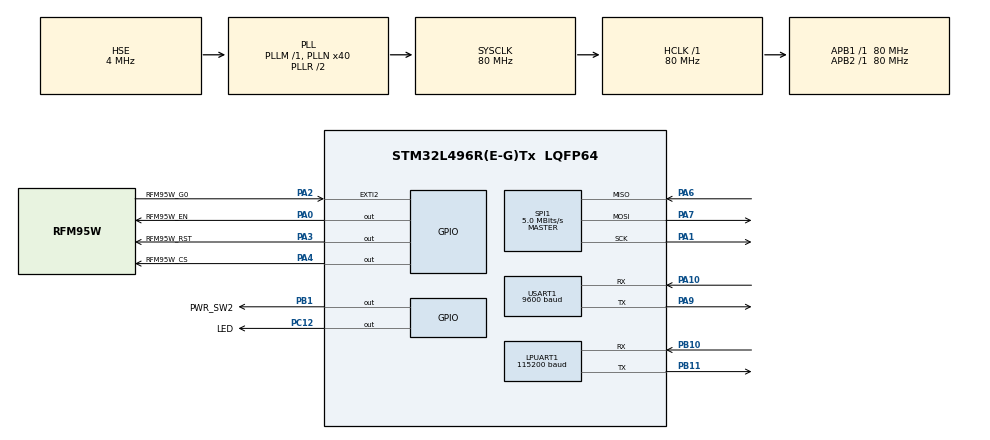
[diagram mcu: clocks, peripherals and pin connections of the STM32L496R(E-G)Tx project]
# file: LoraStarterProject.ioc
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LPUART1.BaudRate=115200
LPUART1.WordLength=UART_WORDLENGTH_8B
Mcu.Family=STM32L4
Mcu.Name=STM32L496R(E-G)Tx
Mcu.Package=LQFP64
NVIC.EXTI2_IRQn=true\:0\:0\:false\:false\:true\:true\:true\:true
NVIC.LPUART1_IRQn=true\:0\:0\:false\:false\:true\:true\:true\:true
NVIC.PriorityGroup=NVIC_PRIORITYGROUP_4
NVIC.TIM1_BRK_TIM15_IRQn=true\:0\:0\:false\:false\:true\:true\:true\:true
NVIC.TIM1_UP_TIM16_IRQn=true\:0\:0\:false\:false\:true\:true\:true\:true
NVIC.USART1_IRQn=true\:0\:0\:false\:false\:true\:true\:true\:true
PA0.GPIO_Label=RFM95W_EN
PA0.GPIO_ModeDefaultOutputPP=GPIO_MODE_OUTPUT_PP
PA0.GPIO_PuPd=GPIO_NOPULL
PA0.PinState=GPIO_PIN_SET
PA0.Signal=GPIO_Output
PA1.Mode=Full_Duplex_Master
PA1.Signal=SPI1_SCK
PA10.Mode=Asynchronous
PA10.Signal=USART1_RX
PA2.GPIO_Label=RFM95W_G0
PA2.Signal=GPXTI2
PA3.GPIO_Label=RFM95W_RST
PA3.Signal=GPIO_Output
PA4.GPIO_Label=RFM95W_CS
PA4.PinState=GPIO_PIN_SET
PA4.Signal=GPIO_Output
PA6.Mode=Full_Duplex_Master
PA6.Signal=SPI1_MISO
PA7.Mode=Full_Duplex_Master
PA7.Signal=SPI1_MOSI
PA9.Mode=Asynchronous
PA9.Signal=USART1_TX
PB1.GPIO_Label=PWR_SW2
PB1.PinState=GPIO_PIN_SET
PB1.Signal=GPIO_Output
PB10.Mode=Asynchronous
PB10.Signal=LPUART1_RX
PB11.Mode=Asynchronous
PB11.Signal=LPUART1_TX
PC12.GPIO_Label=LED
PC12.Signal=GPIO_Output
PC14-OSC32_IN\ (PC14).Mode=LSE-External-Oscillator
PC14-OSC32_IN\ (PC14).Signal=RCC_OSC32_IN
PC15-OSC32_OUT\ (PC15).Mode=LSE-External-Oscillator
PC15-OSC32_OUT\ (PC15).Signal=RCC_OSC32_OUT
PH0-OSC_IN\ (PH0).Mode=HSE-External-Oscillator
PH0-OSC_IN\ (PH0).Signal=RCC_OSC_IN
PH1-OSC_OUT\ (PH1).Mode=HSE-External-Oscillator
PH1-OSC_OUT\ (PH1).Signal=RCC_OSC_OUT
ProjectManager.HeapSize=0x200
ProjectManager.StackSize=0x400
ProjectManager.TargetToolchain=STM32CubeIDE
RCC.ADCFreq_Value=16000000
RCC.AHBFreq_Value=80000000
RCC.APB1Freq_Value=80000000
RCC.APB1TimFreq_Value=80000000
RCC.APB2Freq_Value=80000000
RCC.APB2TimFreq_Value=80000000
RCC.CortexFreq_Value=80000000
RCC.HCLKFreq_Value=80000000
RCC.HSE_VALUE=4000000
RCC.HSI48_VALUE=48000000
RCC.HSI_VALUE=16000000
RCC.MSI_VALUE=4000000
RCC.PLLN=40
RCC.PLLSourceVirtual=RCC_PLLSOURCE_HSE
RCC.RTCClockSelection=RCC_RTCCLKSOURCE_LSE
RCC.SYSCLKFreq_VALUE=80000000
RCC.SYSCLKSource=RCC_SYSCLKSOURCE_PLLCLK
RCC.USBFreq_Value=16000000
RCC.VCOOutputFreq_Value=160000000
SPI1.BaudRatePrescaler=SPI_BAUDRATEPRESCALER_16
SPI1.CalculateBaudRate=5.0 MBits/s
SPI1.DataSize=SPI_DATASIZE_8BIT
SPI1.Direction=SPI_DIRECTION_2LINES
SPI1.Mode=SPI_MODE_MASTER
SPI1.VirtualType=VM_MASTER
TIM15.Period=4000-1
TIM15.Prescaler=10000
TIM16.Period=16-1
TIM16.Prescaler=5000
USART1.BaudRate=9600
USART1.VirtualMode-Asynchronous=VM_ASYNC
VP_TIM15_VS_ClockSourceINT.Mode=Internal
VP_TIM16_VS_ClockSourceINT.Mode=Enable_Timer
board=custom

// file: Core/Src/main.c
/* USER CODE BEGIN Header */
/**
  ******************************************************************************
  * @file           : main.c
  * @brief          : Main program body
  ******************************************************************************
  * @attention
  *
  * Copyright (c) 2025 STMicroelectronics.
  * All rights reserved.
  *
  * This software is licensed under terms that can be found in the LICENSE file
  * in the root directory of this software component.
  * If no LICENSE file comes with this software, it is provided AS-IS.
  *
  ******************************************************************************
  */
/* USER CODE END Header */
#include "main.h"
#include "usart.h"
#include "spi.h"
#include "tim.h"
#include "gpio.h"

/* USER CODE BEGIN Includes */
#include <stdint.h>
#include <stdio.h>
#include <string.h>
#include "dbg_output.h"
#include "rfm95w.h"
#include "fifo_uint8.h"

/* USER CODE END Includes */

/* USER CODE BEGIN PTD */

/* Definition of the LoRa Packet Structures */
typedef struct lora_packet_header_t_
{
	uint8_t destination_address;
	uint8_t source_address;
	uint8_t sequence_number;
	uint8_t ctrl_and_retry_count;
} lora_packet_header_t;

#define LORA_PACKET_MAX_PAYLOAD	(250U)

typedef struct lora_packet_t_
{
	lora_packet_header_t header;
	uint8_t payload[LORA_PACKET_MAX_PAYLOAD];
	uint32_t payload_length;
} lora_packet_t;

/* USER CODE END PTD */

/* USER CODE BEGIN PM */
#define MAIN_STRING_BUFFER_MAXLEN	(1024)

#define UART_FIFO_BUFFER_SIZE	(2048U)
/* USER CODE END PM */

/* USER CODE BEGIN PV */
static uint8_t g_main_string_buffer[MAIN_STRING_BUFFER_MAXLEN] = {0U}; /* Buffer for formatted strings */
static uint32_t g_main_string_buffer_length = 0U;

static volatile uint32_t g_main_half_second_counter = 0U; /*!< Counter incremented by TIM15 callback at 2Hz */
static volatile uint64_t g_main_millisecond_counter = 0U; /*!< Counter incremented by TIM16 callback at 1kHz */

/* UART Transmit Variables */
static volatile fifo_uint8_state_t g_uart_transmit_fifo = {0};
static volatile uint8_t g_uart_transmit_fifo_buffer[UART_FIFO_BUFFER_SIZE] = {0};
static volatile uint8_t g_uart_transmit_fifo_in_process = 0;

/* UART Receive Variables */
static volatile fifo_uint8_state_t g_uart_receive_fifo = {0};
static volatile uint8_t g_uart_receive_fifo_buffer[UART_FIFO_BUFFER_SIZE] = {0};
static volatile uint8_t g_uart_receive_fifo_in_process = 0;
static volatile uint8_t g_main_serial_byte_to_receive = 0;
static volatile uint64_t g_main_last_received_serial_byte_time_ms = 0;

/* Lora packet variables*/
static lora_packet_t g_lora_packet_to_transmit = {0};
static lora_packet_t g_lora_packet_received = {0};
static uint64_t g_lora_packet_transmit_serial_timeout = 200; // 200ms

static uint8_t g_lora_source_address = 0; // Set these manually for now
static uint8_t g_lora_destination_address = 255; // Set these manually for now
static uint8_t g_lora_broadcast_address = 255;

static uint8_t g_lora_sequence_number = 0;
/* USER CODE END PV */

void SystemClock_Config(void);

int main(void)
{

  /* MCU Configuration--------------------------------------------------------*/

  /* Reset of all peripherals, Initializes the Flash interface and the Systick. */
  HAL_Init();

  /* Configure the system clock */
  SystemClock_Config();

  /* Initialize all configured peripherals */
  MX_GPIO_Init();
  MX_TIM15_Init();
  MX_SPI1_Init();
  MX_USART1_UART_Init();
  MX_LPUART1_UART_Init();
  MX_TIM16_Init();
  /* USER CODE BEGIN 2 */
  HAL_GPIO_WritePin(LED_GPIO_Port, LED_Pin, 1U); // Light the LED

  HAL_TIM_Base_Start_IT(&htim15); // Start the timer TIM15 which will toggle the LED
  HAL_TIM_Base_Start_IT(&htim16); // Start the timer TIM16 for ms counter

  dbg_output_init(&hlpuart1); // Initialise the debug stream using LPUART1

  // Initialise the UART FIFOs
  fifo_uint8_init(&g_uart_transmit_fifo, UART_FIFO_BUFFER_SIZE, g_uart_transmit_fifo_buffer);
  fifo_uint8_init(&g_uart_receive_fifo, UART_FIFO_BUFFER_SIZE, g_uart_receive_fifo_buffer);

  // Send Message To Debug UART
  dbg_output_write_str("HelloWorld\r\n");

  // Initialise the RFM95W
  rfm95w_init(&hspi1);

  // Send Test Packet
  g_main_string_buffer_length = sprintf(&g_main_string_buffer[0], "HelloWorld\r\n");
  rfm95w_transmit_packet(g_main_string_buffer_length, &g_main_string_buffer[0]);

  // start listening
  rfm95w_listen_for_packets();

  // Start the UART1 Serial listening for incoming bytes
  HAL_UART_Receive_IT(&huart1, &g_main_serial_byte_to_receive, 1);
  g_uart_receive_fifo_in_process = 1;

  // Initialise the header in the packet for transmitting
  g_lora_packet_to_transmit.header.source_address = g_lora_source_address;
  g_lora_packet_to_transmit.header.destination_address = g_lora_destination_address;
  g_lora_packet_to_transmit.header.sequence_number = g_lora_sequence_number;
  g_lora_sequence_number++; // increment for the next packet

  /* USER CODE END 2 */

  /* Infinite loop */
  /* USER CODE BEGIN WHILE */
  while (1)
  {

	  // 1
	  // Check for Received packet flag
	  // Get the received packet into the packet structure (set the payload length)
	  // clear the received packet flag
	  // check the received packet header - our address or broadcast address
	  // If is for us then put the payload bytes into the serial transmit fifo
	  // if serial transmit is not currently in progress then kick it off

	  //2
	  // Check for serial bytes in the receive fifo
	  // take each byte and add into current transmit packet payload
	  // if we have reached the max payload length then transmit the packet and then clear the structures and start afresh

	  // 3
	  // Check for timeout since last serial byte received.
	  // If we currently have a packet becing assembled for transmission then transmit the packet and then clear the structures and start afresh

    /* USER CODE END WHILE */

  }
}

void SystemClock_Config(void)
{
  RCC_OscInitTypeDef RCC_OscInitStruct = {0};
  RCC_ClkInitTypeDef RCC_ClkInitStruct = {0};

  /** Configure the main internal regulator output voltage
  */
  if (HAL_PWREx_ControlVoltageScaling(PWR_REGULATOR_VOLTAGE_SCALE1) != HAL_OK)
  {
    Error_Handler();
  }

  /** Initializes the RCC Oscillators according to the specified parameters
  * in the RCC_OscInitTypeDef structure.
  */
  RCC_OscInitStruct.OscillatorType = RCC_OSCILLATORTYPE_HSE;
  RCC_OscInitStruct.HSEState = RCC_HSE_ON;
  RCC_OscInitStruct.PLL.PLLState = RCC_PLL_ON;
  RCC_OscInitStruct.PLL.PLLSource = RCC_PLLSOURCE_HSE;
  RCC_OscInitStruct.PLL.PLLM = 1;
  RCC_OscInitStruct.PLL.PLLN = 40;
  RCC_OscInitStruct.PLL.PLLP = RCC_PLLP_DIV2;
  RCC_OscInitStruct.PLL.PLLQ = RCC_PLLQ_DIV2;
  RCC_OscInitStruct.PLL.PLLR = RCC_PLLR_DIV2;
  if (HAL_RCC_OscConfig(&RCC_OscInitStruct) != HAL_OK)
  {
    Error_Handler();
  }

  /** Initializes the CPU, AHB and APB buses clocks
  */
  RCC_ClkInitStruct.ClockType = RCC_CLOCKTYPE_HCLK|RCC_CLOCKTYPE_SYSCLK
                              |RCC_CLOCKTYPE_PCLK1|RCC_CLOCKTYPE_PCLK2;
  RCC_ClkInitStruct.SYSCLKSource = RCC_SYSCLKSOURCE_PLLCLK;
  RCC_ClkInitStruct.AHBCLKDivider = RCC_SYSCLK_DIV1;
  RCC_ClkInitStruct.APB1CLKDivider = RCC_HCLK_DIV1;
  RCC_ClkInitStruct.APB2CLKDivider = RCC_HCLK_DIV1;

  if (HAL_RCC_ClockConfig(&RCC_ClkInitStruct, FLASH_LATENCY_4) != HAL_OK)
  {
    Error_Handler();
  }
}

/* USER CODE BEGIN 4 */

/**
  * @brief  Period elapsed callback in non-blocking mode
  * @param  htim TIM handle
  * @retval None
  */
void HAL_TIM_PeriodElapsedCallback(TIM_HandleTypeDef *htim)
{
	if (htim->Instance == TIM15)
	{
		g_main_half_second_counter++; // Increment the 2Hz counter
		HAL_GPIO_TogglePin(LED_GPIO_Port, LED_Pin);
	}

	if (htim->Instance == TIM16)
	{
		g_main_millisecond_counter++; // Increment the counter
	}
}

/**
  * @brief  EXTI line detection callback.
  * @param  GPIO_Pin Specifies the port pin connected to corresponding EXTI line.
  * @retval None
  */
void HAL_GPIO_EXTI_Callback(uint16_t GPIO_Pin)
{
	if (GPIO_Pin == RFM95W_G0_GPIO_PIN)
	{
		// Interrupt from RFM95W
		rfm95w_process_interrupt();
	}
}

/**
  * @brief Tx Transfer completed callback.
  * @param huart UART handle.
  * @retval None
  */
void HAL_UART_TxCpltCallback(UART_HandleTypeDef *huart)
{
	// Debug Serial
	if (huart->Instance == LPUART1)
	{
		dbg_output_process_on_interrupt();
	}

	// Main Serial
	if (huart->Instance == USART1)
	{
		// Check transmit fifo to continue transmissions
		if (fifo_uint8_is_empty(&g_uart_transmit_fifo) == 1)
		{
			// Transmission complete as fifo is empty
			g_uart_transmit_fifo_in_process = 0;
		}
		else
		{
			// Send the next byte
			uint8_t next_byte = 0;
			fifo_uint8_read_one(&g_uart_transmit_fifo, &next_byte);
			HAL_UART_Transmit_IT(&huart1, &next_byte, 1);
			g_uart_transmit_fifo_in_process = 1;
		}
	}
}

/**
  * @brief  Rx Transfer completed callback.
  * @param  huart UART handle.
  * @retval None
  */
void HAL_UART_RxCpltCallback(UART_HandleTypeDef *huart)
{
	if (huart->Instance == USART1) // BS: USing the other port as shortage of cables
	{
		// just received data into g_main_serial_byte_to_receive
		// put into fifo so it can be processed by the main loop to construc a lora packet to transmit.
		fifo_uint8_write_one(&g_uart_receive_fifo, g_main_serial_byte_to_receive);

		// last byte received at:
		g_main_last_received_serial_byte_time_ms = g_main_millisecond_counter;

		// Start another receive
		HAL_UART_Receive_IT(&huart1, &g_main_serial_byte_to_receive, 1);
		g_uart_receive_fifo_in_process = 1;
	}
}

/* USER CODE END 4 */

void Error_Handler(void)
{
  __disable_irq();
  while (1)
  {
  }
}
